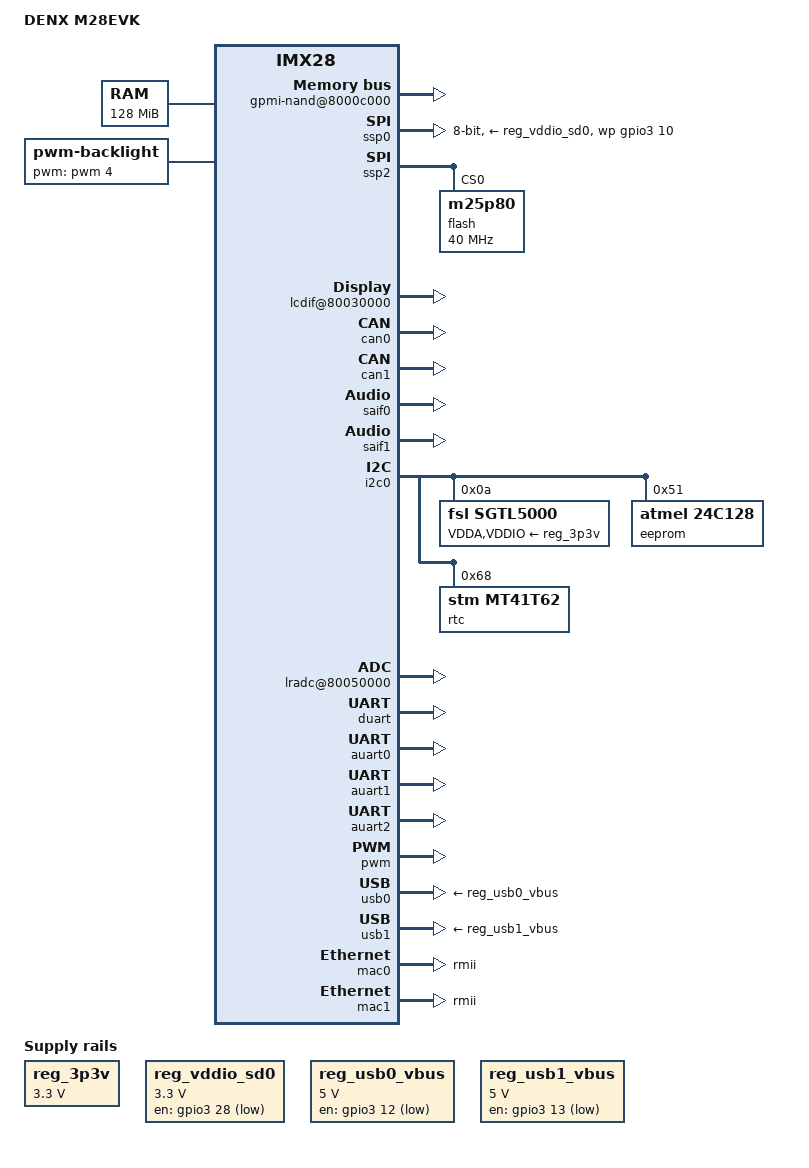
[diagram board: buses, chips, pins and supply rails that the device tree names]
/*
 * Copyright (C) 2012 Marek Vasut <marex@denx.de>
 *
 * The code contained herein is licensed under the GNU General Public
 * License. You may obtain a copy of the GNU General Public License
 * Version 2 or later at the following locations:
 *
 * http://www.opensource.org/licenses/gpl-license.html
 * http://www.gnu.org/copyleft/gpl.html
 */

/dts-v1/;
#include "imx28.dtsi"

/ {
	model = "DENX M28EVK";
	compatible = "denx,m28evk", "fsl,imx28";

	memory {
		reg = <0x40000000 0x08000000>;
	};

	apb@80000000 {
		apbh@80000000 {
			gpmi-nand@8000c000 {
				#address-cells = <1>;
				#size-cells = <1>;
				pinctrl-names = "default";
				pinctrl-0 = <&gpmi_pins_a &gpmi_status_cfg>;
				status = "okay";

				partition@0 {
					label = "bootloader";
					reg = <0x00000000 0x00300000>;
					read-only;
				};

				partition@1 {
					label = "environment";
					reg = <0x00300000 0x00080000>;
				};

				partition@2 {
					label = "redundant-environment";
					reg = <0x00380000 0x00080000>;
				};

				partition@3 {
					label = "kernel";
					reg = <0x00400000 0x00400000>;
				};

				partition@4 {
					label = "filesystem";
					reg = <0x00800000 0x0f800000>;
				};
			};

			ssp0: ssp@80010000 {
				compatible = "fsl,imx28-mmc";
				pinctrl-names = "default";
				pinctrl-0 = <&mmc0_8bit_pins_a
					     &mmc0_cd_cfg
					     &mmc0_sck_cfg>;
				bus-width = <8>;
				wp-gpios = <&gpio3 10 0>;
				vmmc-supply = <&reg_vddio_sd0>;
				status = "okay";
			};

			ssp2: ssp@80014000 {
				#address-cells = <1>;
				#size-cells = <0>;
				compatible = "fsl,imx28-spi";
				pinctrl-names = "default";
				pinctrl-0 = <&spi2_pins_a>;
				status = "okay";

				flash: m25p80@0 {
					#address-cells = <1>;
					#size-cells = <1>;
					compatible = "m25p80";
					spi-max-frequency = <40000000>;
					reg = <0>;
				};
			};

			pinctrl@80018000 {
				pinctrl-names = "default";
				pinctrl-0 = <&hog_pins_a>;

				hog_pins_a: hog@0 {
					reg = <0>;
					fsl,pinmux-ids = <
						MX28_PAD_PWM3__GPIO_3_28
						MX28_PAD_AUART2_CTS__GPIO_3_10
						MX28_PAD_AUART2_RTS__GPIO_3_11
						MX28_PAD_AUART3_RX__GPIO_3_12
						MX28_PAD_AUART3_TX__GPIO_3_13
					>;
					fsl,drive-strength = <MXS_DRIVE_4mA>;
					fsl,voltage = <MXS_VOLTAGE_HIGH>;
					fsl,pull-up = <MXS_PULL_DISABLE>;
				};

				lcdif_pins_m28: lcdif-m28@0 {
					reg = <0>;
					fsl,pinmux-ids = <
						MX28_PAD_LCD_DOTCLK__LCD_DOTCLK
						MX28_PAD_LCD_ENABLE__LCD_ENABLE
					>;
					fsl,drive-strength = <MXS_DRIVE_4mA>;
					fsl,voltage = <MXS_VOLTAGE_HIGH>;
					fsl,pull-up = <MXS_PULL_DISABLE>;
				};
			};

			lcdif@80030000 {
				pinctrl-names = "default";
				pinctrl-0 = <&lcdif_24bit_pins_a
					     &lcdif_pins_m28>;
				display = <&display>;
				status = "okay";

				display: display {
					bits-per-pixel = <16>;
					bus-width = <18>;

					display-timings {
						native-mode = <&timing0>;
						timing0: timing0 {
							clock-frequency = <33260000>;
							hactive = <800>;
							vactive = <480>;
							hback-porch = <0>;
							hfront-porch = <256>;
							vback-porch = <0>;
							vfront-porch = <45>;
							hsync-len = <1>;
							vsync-len = <1>;
							hsync-active = <0>;
							vsync-active = <0>;
							de-active = <1>;
							pixelclk-active = <1>;
						};
					};
				};
			};

			can0: can@80032000 {
				pinctrl-names = "default";
				pinctrl-0 = <&can0_pins_a>;
				status = "okay";
			};

			can1: can@80034000 {
				pinctrl-names = "default";
				pinctrl-0 = <&can1_pins_a>;
				status = "okay";
			};
		};

		apbx@80040000 {
			saif0: saif@80042000 {
				pinctrl-names = "default";
				pinctrl-0 = <&saif0_pins_a>;
				status = "okay";
			};

			saif1: saif@80046000 {
				pinctrl-names = "default";
				pinctrl-0 = <&saif1_pins_a>;
				fsl,saif-master = <&saif0>;
				status = "okay";
			};

			i2c0: i2c@80058000 {
				pinctrl-names = "default";
				pinctrl-0 = <&i2c0_pins_a>;
				status = "okay";

				sgtl5000: codec@0a {
					compatible = "fsl,sgtl5000";
					reg = <0x0a>;
					VDDA-supply = <&reg_3p3v>;
					VDDIO-supply = <&reg_3p3v>;
					clocks = <&saif0>;
				};

				eeprom: eeprom@51 {
					compatible = "atmel,24c128";
					reg = <0x51>;
					pagesize = <32>;
				};

				rtc: rtc@68 {
					compatible = "stm,mt41t62";
					reg = <0x68>;
				};
			};

			lradc@80050000 {
				status = "okay";
				fsl,lradc-touchscreen-wires = <4>;
			};

			duart: serial@80074000 {
				pinctrl-names = "default";
				pinctrl-0 = <&duart_pins_a>;
				status = "okay";
			};

			usbphy0: usbphy@8007c000 {
				status = "okay";
			};

			usbphy1: usbphy@8007e000 {
				status = "okay";
			};

			auart0: serial@8006a000 {
				pinctrl-names = "default";
				pinctrl-0 = <&auart0_pins_a>;
				status = "okay";
			};

			auart1: serial@8006c000 {
				pinctrl-names = "default";
				pinctrl-0 = <&auart1_pins_a>;
				status = "okay";
			};

			auart2: serial@8006e000 {
				pinctrl-names = "default";
				pinctrl-0 = <&auart2_2pins_b>;
				status = "okay";
			};

			pwm: pwm@80064000 {
				pinctrl-names = "default";
				pinctrl-0 = <&pwm4_pins_a>;
				status = "okay";
			};
		};
	};

	ahb@80080000 {
		usb0: usb@80080000 {
			vbus-supply = <&reg_usb0_vbus>;
			pinctrl-names = "default";
			pinctrl-0 = <&usbphy0_pins_a>;
			status = "okay";
		};

		usb1: usb@80090000 {
			vbus-supply = <&reg_usb1_vbus>;
			pinctrl-names = "default";
			pinctrl-0 = <&usbphy1_pins_a>;
			status = "okay";
		};

		mac0: ethernet@800f0000 {
			phy-mode = "rmii";
			pinctrl-names = "default";
			pinctrl-0 = <&mac0_pins_a>;
			clocks = <&clks 57>, <&clks 57>;
			clock-names = "ipg", "ahb";
			status = "okay";
		};

		mac1: ethernet@800f4000 {
			phy-mode = "rmii";
			pinctrl-names = "default";
			pinctrl-0 = <&mac1_pins_a>;
			status = "okay";
		};
	};

	backlight {
		compatible = "pwm-backlight";
		pwms = <&pwm 4 5000000>;
		brightness-levels = <0 4 8 16 32 64 128 255>;
		default-brightness-level = <6>;
	};

	regulators {
		compatible = "simple-bus";

		reg_3p3v: 3p3v {
			compatible = "regulator-fixed";
			regulator-name = "3P3V";
			regulator-min-microvolt = <3300000>;
			regulator-max-microvolt = <3300000>;
			regulator-always-on;
		};

		reg_vddio_sd0: vddio-sd0 {
			compatible = "regulator-fixed";
			regulator-name = "vddio-sd0";
			regulator-min-microvolt = <3300000>;
			regulator-max-microvolt = <3300000>;
			gpio = <&gpio3 28 0>;
		};

		reg_usb0_vbus: usb0_vbus {
			compatible = "regulator-fixed";
			regulator-name = "usb0_vbus";
			regulator-min-microvolt = <5000000>;
			regulator-max-microvolt = <5000000>;
			gpio = <&gpio3 12 0>;
		};

		reg_usb1_vbus: usb1_vbus {
			compatible = "regulator-fixed";
			regulator-name = "usb1_vbus";
			regulator-min-microvolt = <5000000>;
			regulator-max-microvolt = <5000000>;
			gpio = <&gpio3 13 0>;
		};
	};

	sound {
		compatible = "denx,m28evk-sgtl5000",
			     "fsl,mxs-audio-sgtl5000";
		model = "m28evk-sgtl5000";
		saif-controllers = <&saif0 &saif1>;
		audio-codec = <&sgtl5000>;
	};
};
